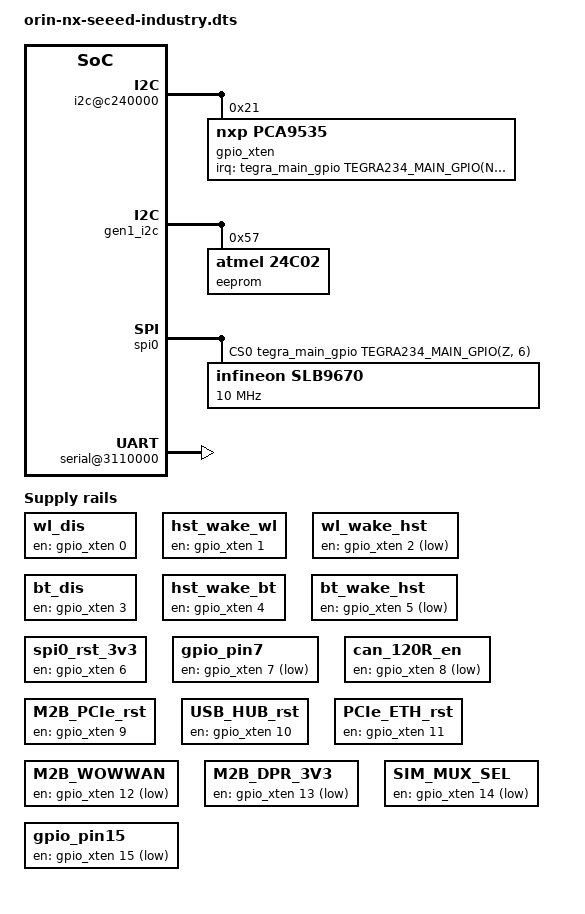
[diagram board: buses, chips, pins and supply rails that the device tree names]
/*
 * Copyright (C) 2022 Seeed Studio
 *
 * MIT License
 *
 */

/dts-v1/;
/plugin/;

#include <dt-bindings/interrupt-controller/irq.h>
#include <dt-bindings/pinctrl/pinctrl-tegra.h>
#include <dt-bindings/gpio/tegra234-gpio.h>
#include <dt-bindings/pinctrl/tegra234-p3767-0000-common.h>

/ {
    overlay-name = "Jetson Seeed Industrial Overlay";
	jetson-header-name = "Jetson Orin NX Industrial";
	compatible = JETSON_COMPATIBLE;

    fragment@0 {
		target-path = "/i2c@c240000";

		__overlay__ {
            #address-cells = <1>;
		    #size-cells = <0>;

			gpio_xten: gpio_xten@21 {
				compatible = "nxp,pca9535";
				reg = <0x21>;
                gpio-controller;
                #gpio-cells = <2>;

                interrupt-controller;
                #interrupt-cells=<2>;

                interrupt-parent = <&tegra_main_gpio>;
                interrupts = <TEGRA234_MAIN_GPIO(N, 1) IRQ_TYPE_EDGE_FALLING>;

				gpio-line-names =
					"wl_dis"	 	,"hst_wake_wl",
					"wl_wake_hst"	,"bt_dis",
					"hst_wake_bt"	,"bt_wake_hst",
					"spi0_rst_3v3"	,"gpio_pin7",
					"can_120R_en"	,"M2B_PCIe_rst",
					"USB_HUB_rst"	,"PCIe_ETH_rst",
					"M2B_WOWWAN"	,"M2B_DPR_3V3",
					"SIM_MUX_SEL"	,"gpio_pin15";

				gpio-line-offsets = <0>, <1>, <2>, <3>, <4>, <5>, <6>, <7>, <8>, <9>, <10>, <11>, <12>, <13>, <14>, <15>;
			};
		};
	};


	fragment@1 {
		target = <&gen1_i2c>;

		__overlay__ {
            #address-cells = <1>;
		    #size-cells = <0>;

			eeprom@57 {
                compatible = "atmel,24c02";
                reg = <0x57>;
                pagesize = <0x08>;
            };
		};
	};

/*
	// There is no rfkill-wlan.c in Jetson kernel source.
	fragment@2 {
		target-path = "/";

		__overlay__ {
            wcn_wifi: wireless-wlan {
				compatible = "wlan-platdata";
				wifi_chip_type = "8723du";
				keep_wifi_power_on;
				WIFI,poweren_gpio = <&gpio_xten 0 GPIO_ACTIVE_HIGH>;
				WIFI,reset_n = <&gpio_xten 1 GPIO_ACTIVE_HIGH>;
				status = "okay";
			};
		};
	};
*/

	fragment@3 {
		target-path = "/";

		__overlay__ {

				wl_dis: gpio_xten_pin@0 {
					compatible = "regulator-fixed";
					regulator-name = "wl_dis";
					gpios = <&gpio_xten 0 GPIO_ACTIVE_HIGH>;
					enable-active-high;
					regulator-always-on;
				};

				hst_wake_wl: gpio_xten_pin@1 {
					compatible = "regulator-fixed";
					regulator-name = "hst_wake_wl";
					gpios = <&gpio_xten 1 GPIO_ACTIVE_HIGH>;
					enable-active-high;
					regulator-always-on;
				};

				wl_wake_hst: gpio_xten_pin@2 {
					compatible = "regulator-fixed";
					regulator-name = "wl_wake_hst";
					gpios = <&gpio_xten 2 GPIO_ACTIVE_LOW>;
					gpio-open-drain;
				};

				bt_dis: gpio_xten_pin@3 {
					compatible = "regulator-fixed";
					regulator-name = "bt_dis";
					gpios = <&gpio_xten 3 GPIO_ACTIVE_HIGH>;
					enable-active-high;
					regulator-always-on;
				};

				hst_wake_bt: gpio_xten_pin@4 {
					compatible = "regulator-fixed";
					regulator-name = "hst_wake_bt";
					gpios = <&gpio_xten 4 GPIO_ACTIVE_HIGH>;
					enable-active-high;
					regulator-always-on;
				};

				bt_wake_hst: gpio_xten_pin@5 {
					compatible = "regulator-fixed";
					regulator-name = "bt_wake_hst";
					gpios = <&gpio_xten 5 GPIO_ACTIVE_LOW>;
					gpio-open-drain;
				};

				spi0_rst_3v3: gpio_xten_pin@6 {
					compatible = "regulator-fixed";
					regulator-name = "spi0_rst_3v3";
					gpios = <&gpio_xten 6 GPIO_ACTIVE_HIGH>;
					enable-active-high;
					regulator-always-on;
				};

				gpio_pin7: gpio_xten_pin@7 {
					compatible = "regulator-fixed";
					regulator-name = "gpio_pin7";
					gpios = <&gpio_xten 7 GPIO_ACTIVE_HIGH>;
				};

				can_120R_en: gpio_xten_pin@8 {
					compatible = "regulator-fixed";
					regulator-name = "can_120R_en";
					gpios = <&gpio_xten 8 GPIO_ACTIVE_HIGH>;
				};

				M2B_PCIe_rst: gpio_xten_pin@9 {
					compatible = "regulator-fixed";
					regulator-name = "M2B_PCIe_rst";
					gpios = <&gpio_xten 9 GPIO_ACTIVE_HIGH>;
					enable-active-high;
				};

				USB_HUB_rst: gpio_xten_pin@10 {
					compatible = "regulator-fixed";
					regulator-name = "USB_HUB_rst";
					gpios = <&gpio_xten 10 GPIO_ACTIVE_HIGH>;
					enable-active-high;
					regulator-always-on;
				};

				PCIe_ETH_rst: gpio_xten_pin@11 {
					compatible = "regulator-fixed";
					regulator-name = "PCIe_ETH_rst";
					gpios = <&gpio_xten 11 GPIO_ACTIVE_HIGH>;
					enable-active-high;
					regulator-always-on;
				};

				M2B_WOWWAN: gpio_xten_pin@12 {
					compatible = "regulator-fixed";
					regulator-name = "M2B_WOWWAN";
					gpios = <&gpio_xten 12 GPIO_ACTIVE_HIGH>;
				};

				M2B_DPR_3V3: gpio_xten_pin@13 {
					compatible = "regulator-fixed";
					regulator-name = "M2B_DPR_3V3";
					gpios = <&gpio_xten 13 GPIO_ACTIVE_HIGH>;
				};

				SIM_MUX_SEL: gpio_xten_pin@14 {
					compatible = "regulator-fixed";
					regulator-name = "SIM_MUX_SEL";
					gpios = <&gpio_xten 14 GPIO_ACTIVE_HIGH>;
				};

				gpio_pin15: gpio_xten_pin@15 {
					compatible = "regulator-fixed";
					regulator-name = "gpio_pin15";
					gpios = <&gpio_xten 15 GPIO_ACTIVE_HIGH>;
				};
		};
	};

	fragment@4 {
		target-path = "/spi@3210000/spi@0";
		__overlay__ {
			status = "disabled";
		};
	};

	fragment@5 {
		target-path = "/spi@3210000/spi@1";
		__overlay__ {
			status = "disabled";
		};
	};

	fragment@6 {
		target = <&spi0>;
		__overlay__ {
			#address-cells = <0x01>;
			#size-cells = <0x00>;

			status = "okay";
			cs-gpios = <&tegra_main_gpio TEGRA234_MAIN_GPIO(Z, 6) GPIO_ACTIVE_HIGH>;
			num-cs = <1>;

			slb9670@0 {
				compatible = "infineon,slb9670";
				status = "okay";
				reg = <0x0>;
				spi-max-frequency = <10000000>;
				controller-data {
					nvidia,cs-setup-clk-count = <0x1e>;
					nvidia,cs-hold-clk-count = <0x1e>;				
					nvidia,rx-clk-tap-delay = <0x7>;
					nvidia,tx-clk-tap-delay = <0x0>;
					nvidia,cs-inactive-cycles = <0x6>;	
				};
			};
		};
	};

	fragment@7 {
		target = <&pinmux>;
		__overlay__ {
			pinctrl-names = "default";
			pinctrl-0 = <&spi0_pinmux>;

			spi0_pinmux: exp-header-pinmux {
				hdr40-pin19 {
					nvidia,pins = HDR40_PIN19;
					nvidia,function = HDR40_SPI;
					nvidia,pull = <TEGRA_PIN_PULL_DOWN>;
					nvidia,tristate = <TEGRA_PIN_DISABLE>;
					nvidia,enable-input = <TEGRA_PIN_DISABLE>;
				};
				hdr40-pin21 {
					nvidia,pins = HDR40_PIN21;
					nvidia,function = HDR40_SPI;
					nvidia,pull = <TEGRA_PIN_PULL_DOWN>;
					nvidia,tristate = <TEGRA_PIN_DISABLE>;
					nvidia,enable-input = <TEGRA_PIN_ENABLE>;
				};
				hdr40-pin23 {
					nvidia,pins = HDR40_PIN23;
					nvidia,function = HDR40_SPI;
					nvidia,pull = <TEGRA_PIN_PULL_DOWN>;
					nvidia,tristate = <TEGRA_PIN_DISABLE>;
					nvidia,enable-input = <TEGRA_PIN_ENABLE>;
				};
				hdr40-pin24 {
					nvidia,pins = HDR40_PIN24;
					nvidia,function = HDR40_SPI;
					nvidia,pull = <TEGRA_PIN_PULL_UP>;
					nvidia,tristate = <TEGRA_PIN_DISABLE>;
					nvidia,enable-input = <TEGRA_PIN_DISABLE>;
				};
			};
		};
	};

	fragment@8 {
		target-path = "/serial@3110000";
		__overlay__ {
			status = "okay";
		};
	};
};

